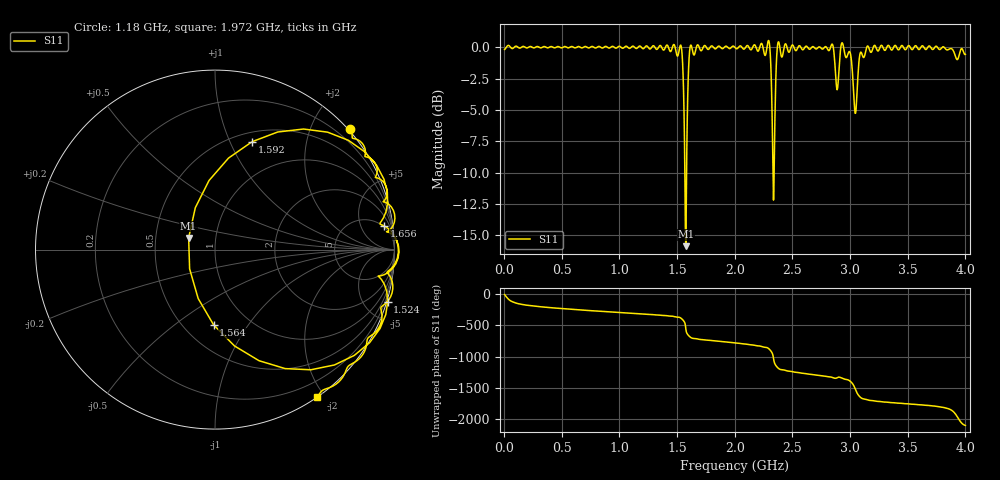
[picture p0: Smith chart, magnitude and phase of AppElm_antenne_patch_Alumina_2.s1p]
! TOUCHSTONE file generated by CST MICROWAVE STUDIO
! Date and time: Thu Jun  9 15:16:38 2022
! Project name: AppElm_antenne_patch_Alumina.cst
! Parameters = {L=30.5; W=41.8; e=0.035; h=1.6; lambda=0.190476; ls=90; w0=1.12; w1=0.373; ws=90; y0=14; y1=8}
! Header version: 2018
! Port assignment regex: !\s*Touchstone port\s*([0-9]+)\s*=\s*(CST MWS port|CST DS port)\s*([0-9]+|Zmin|Zmax)\s*\(\"(.*)\"\)(\s*mode\s*([0-9]+))?.*
! Touchstone port assignment:
! Touchstone port 1 = CST MWS port 1 ("")
# GHz S MA R 50
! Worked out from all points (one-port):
!   1000 points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, 4 MHz to 4 GHz, reference 50 ohm
!   lowest |S11| = -15.9 dB at 1.576 GHz (marker M1), VSWR 1.38, Z = 36.9 + j4.95 ohm
!   |S11| at or under -10 dB: 1.567 GHz to 1.582 GHz (15 MHz wide, 0.953 % of centre); 2.331154 GHz to 2.341198 GHz (10.04 MHz wide, 0.43 % of centre)
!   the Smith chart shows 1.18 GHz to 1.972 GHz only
!   S11 on the Smith chart (normalised r, x): 1.18 GHz: -0.04, +2.62; 1.524 GHz: -0.13, -6.74; 1.564 GHz: 0.69, -0.70; 1.592 GHz: 0.60, +1.21; 1.656 GHz: 5, +13; 1.972 GHz: -0.00, -1.90
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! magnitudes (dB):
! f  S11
! 4 MHz  -0.2
! 504 MHz  0.0
! 1.004 GHz  0.1
! 1.18 GHz  0.1
! 1.504 GHz  -0.7
! 1.524 GHz  0.0
! 1.544 GHz  -0.7
! 1.564 GHz  -7.6
! 1.576 GHz  -15.9
! 1.592 GHz  -3.9
! 1.612 GHz  0.0
! 1.656 GHz  -0.4
! 1.972 GHz  0.0
! 2.004 GHz  0.0
! 2.292 GHz  0.5
! 2.336 GHz  -12.2
! 2.348 GHz  -5.8
! 2.38 GHz  0.4
! 2.504 GHz  0.2
! 2.84 GHz  0.2
! 2.888 GHz  -3.4
! 2.932 GHz  0.3
! 3.004 GHz  -0.6
! 3.044 GHz  -5.3
! 3.088 GHz  -0.5
! 3.148 GHz  0.1
! 3.504 GHz  0.1
! 4 GHz  -0.6
